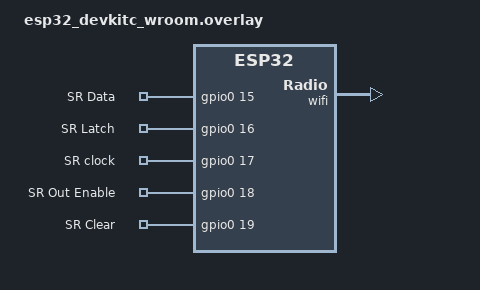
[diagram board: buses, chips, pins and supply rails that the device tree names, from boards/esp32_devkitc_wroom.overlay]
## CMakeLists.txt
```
cmake_minimum_required(VERSION 3.20.0)

find_package(Zephyr REQUIRED HINTS $ENV{ZEPHYR_BASE})
find_package(etl REQUIRED)
FILE(GLOB app_sources src/*.cpp)
# target_compile_options(app PRIVATE -DLUA_32BITS -DLUA_C89_NUMBERS)
target_sources(app PRIVATE ${app_sources})
project(pedal_switcher)

target_link_libraries(app PRIVATE etl::etl)
target_sources(app PRIVATE src/main.cpp)
```

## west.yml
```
# The west manifest file for upstream Zephyr.
#
# The per-installation west configuration file, .west/config, sets the
# path to the project containing this file in the [manifest] section's
# "path" variable.
#
# You are free to create your own manifest files and put them in any
# repository you want, to create your own custom Zephyr installations.
# For example, you could create a manifest file in your own out of
# tree application directory, which would pull this zephyr repository
# in as an ordinary project.
#
# You can pass your manifest repositories to west init when creating a
# new Zephyr installation. See the west documentation for more
# information.

manifest:
  defaults:
    remote: upstream

  remotes:
    - name: upstream
      url-base: https://github.com/zephyrproject-rtos
    - name: etl
      url-base: https://github.com/ETLCPP
    - name: lua
      url-base: https://github.com/tenllado


  #
  # Please add items below based on alphabetical order
  projects:
    - name: zephyr
      remote: upstream
      repo-path: zephyr
      revision: main
      import: true
      path: zephyr
      import:
        path-prefix: deps
        name-allowlist:
          - cmsis      # required by the ARM port
          - hal_atmel # required by the custom_plank board (Nordic based)
          - hal_stm32  # required by the nucleo_f302r8 board (STM32 based)
          - hal_st  # required by the nucleo_f302r8 board (STM32 based)
          - hal_espressif  # required by the nucleo_f302r8 board (STM32 based)
          - hal_xtensa  # required by the nucleo_f302r8 board (STM32 based)
          - lvgl
          - mbedtls
          - mcuboot

    - name: etl_base
      remote: etl
      repo-path: etl
      revision: 20.36.1
      path: deps/modules/etl

    - name: lua_base
      remote: lua
      repo-path: lua
      revision: zephyr
      path: deps/modules/lua

  self:
    path: zephyr
    west-commands: scripts/west-commands.yml
```

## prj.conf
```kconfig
CONFIG_CPP=y
CONFIG_GLIBCXX_LIBCPP=y

# System config
CONFIG_INIT_STACKS=y
CONFIG_MAIN_STACK_SIZE=8192
CONFIG_LOG=y
# CONFIG_LOG_MAX_LEVEL=0
# CONFIG_LOG_MODE_IMMEDIATE=y

# Console
CONFIG_CONSOLE=y
CONFIG_UART_CONSOLE=y
CONFIG_UART_LINE_CTRL=y

CONFIG_GPIO=y
```

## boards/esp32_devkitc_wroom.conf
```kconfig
# CONFIG_HEAP_MEM_POOL_SIZE=2048
# CONFIG_NVS=y
# CONFIG_SETTINGS_NVS=y
# CONFIG_MPU_ALLOW_FLASH_WRITE=y

# # Wifi stuff
# CONFIG_WIFI=y
# CONFIG_INIT_STACKS=y
# CONFIG_NET_L2_WIFI_MGMT=y

# CONFIG_NETWORKING=y
# CONFIG_NET_L2_ETHERNET=y

# CONFIG_NET_IPV4=y
# CONFIG_NET_IPV6=y
# CONFIG_NET_UDP=y
# CONFIG_NET_TCP=y
# CONFIG_DNS_RESOLVER=y
# CONFIG_DNS_RESOLVER_AI_MAX_ENTRIES=10

# CONFIG_NET_SOCKETS=y
# CONFIG_HTTP_CLIENT=y

# # Use DHCP for IPv4
# CONFIG_NET_DHCPV4=y

# # Or assign a static IP address (useful for testing)
# # Following line must be enabled, otherwise WiFi connection fails with -1.
# CONFIG_NET_CONFIG_SETTINGS=y
# #CONFIG_NET_CONFIG_NEED_IPV4=y
# #CONFIG_NET_CONFIG_MY_IPV4_ADDR="192.168.0.12"
# #CONFIG_NET_CONFIG_MY_IPV4_GW="192.168.0.254"
# #CONFIG_NET_CONFIG_NEED_IPV6=y
# #CONFIG_NET_CONFIG_MY_IPV6_ADDR="fe80::100"

# # Enabling logging can be helpful for debugging
# #CONFIG_NET_LOG=y
# #CONFIG_WIFI_LOG_LEVEL_ERR=y
# #CONFIG_NET_IPV6_LOG_LEVEL_DBG=y

# CONFIG_NET_TX_STACK_SIZE=2048
# CONFIG_NET_RX_STACK_SIZE=2048

# CONFIG_NET_PKT_RX_COUNT=10
# CONFIG_NET_PKT_TX_COUNT=10

# CONFIG_NET_BUF_RX_COUNT=20
# CONFIG_NET_BUF_TX_COUNT=20

# CONFIG_NET_MAX_CONTEXTS=10
```

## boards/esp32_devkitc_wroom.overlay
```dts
/*
 * Copyright (c) 2020, Kim Bøndergaard, <kim@fam-boendergaard.dk>
 *
 * SPDX-License-Identifier: Apache-2.0
 */

 / {
	shift_register {
		compatible = "gpio-keys";
		sr_data: sr_data {
			gpios = <&gpio0 15 GPIO_ACTIVE_HIGH>;
			label = "SR Data";
		};
		sr_latch: sr_latch {
			gpios = <&gpio0 16 GPIO_ACTIVE_HIGH>;
			label = "SR Latch";
		};
		sr_clock: sr_clock {
			gpios = <&gpio0 17 GPIO_ACTIVE_HIGH>;
			label = "SR clock";
		};
		sr_out_enable: sr_out_enable {
			gpios = <&gpio0 18 GPIO_ACTIVE_HIGH>;
			label = "SR Out Enable";
		};
		sr_clear: sr_clear {
			gpios = <&gpio0 19 GPIO_ACTIVE_HIGH>;
			label = "SR Clear";
		};
	};
	// chosen {
	// 	zephyr,display = &st7735r_st7735r_ada_160x128;
	// };
	// buttons {
	// 	compatible = "gpio-keys";
	// 	a_button: a_button {
	// 		gpios = <&gpio0 16 GPIO_ACTIVE_LOW>;
	// 		label = "A Button";
	// 	};
	// 	b_button: b_button {
	// 		gpios = <&gpio0 17 GPIO_ACTIVE_LOW>;
	// 		label = "B Button";
	// 	};
	// 	up_button: up_button {
	// 		gpios = <&gpio0 5 GPIO_ACTIVE_LOW>;
	// 		label = "Up Button";
	// 	};
	// 	down_button: down_button {
	// 		gpios = <&gpio0 18 GPIO_ACTIVE_LOW>;
	// 		label = "Down Button";
	// 	};
	// 	// left_button: left_button {
	// 	// 	gpios = <&gpio0 18 GPIO_ACTIVE_LOW>;
	// 	// 	label = "Left Button";
	// 	// };
	// 	// right_button: right_button {
	// 	// 	gpios = <&gpio0 5 GPIO_ACTIVE_LOW>;
	// 	// 	label = "Right Button";
	// 	// };
	// 	// start_button: start_button {
	// 	// 	gpios = <&gpio0 5 GPIO_ACTIVE_LOW>;
	// 	// 	label = "Start Button";
	// 	// };
	// 	// select_button: select_button {
	// 	// 	gpios = <&gpio0 18 GPIO_ACTIVE_LOW>;
	// 	// 	label = "Select Button";
	// 	// };
	// };
};

// &spi2 {
// 	st7735r_st7735r_ada_160x128: st7735r@0 {
// 		compatible = "sitronix,st7735r";
// 		spi-max-frequency = <20000000>;
// 		reg = <0>;
// 		cmd-data-gpios = <&gpio0 27 GPIO_ACTIVE_LOW>;	/* D9 */
// 		reset-gpios = <&gpio0 26 GPIO_ACTIVE_LOW>;	/* D8 */
// 		width = <160>;
// 		height = <128>;
// 		x-offset = <0>;
// 		y-offset = <0>;
// 		madctl = <0x60>;
// 		colmod = <0x55>;
// 		vmctr1 = <0x0e>;
// 		pwctr1 = [a2 02 84];
// 		pwctr2 = [c5];
// 		pwctr3 = [0a 00];
// 		pwctr4 = [8a 2a];
// 		pwctr5 = [8a ee];
// 		frmctr1 = [01 2c 2d];
// 		frmctr2 = [01 2c 2d];
// 		frmctr3 = [01 2c 2d 01 2c 2d];
// 		gamctrp1 = [02 1c 07 12 37 32 29 2d 29 25 2b 39 00 01 03 10];
// 		gamctrn1 = [03 1d 07 06 2e 2c 29 2d 2e 2e 37 3f 00 00 02 10];
// 	};
// };

// &spi1 {
// 	status = "okay";
// 	cs-gpios = <&porta 27 GPIO_ACTIVE_LOW>;

// 	sdhc0: sdhc@0 {
// 			compatible = "zephyr,sdhc-spi-slot";
// 			reg = <0>;
// 			status = "okay";
// 			mmc {
// 				compatible = "zephyr,sdmmc-disk";
// 				status = "okay";
// 			};
// 			spi-max-frequency = <24000000>;
// 	};
// };


&wifi {
	status = "okay";
};

&uart1 {
	status="disabled";
};

&uart2 {
	status="disabled";
};

// &pinctrl {
// 	spim2_default: spim2_default {
// 		group1 {
// 			pinmux = <SPIM2_MISO_GPIO12>,
// 					<SPIM2_SCLK_GPIO14>,
// 					<SPIM2_CSEL_GPIO15>;
// 		};
// 		group2 {
// 			pinmux = <SPIM2_MOSI_GPIO13>;
// 			output-low;
// 		};
// 	};
// };
```

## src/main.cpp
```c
#include <zephyr/kernel.h>
#include <zephyr/logging/log.h>
#include <zephyr/drivers/gpio.h>
LOG_MODULE_REGISTER(main_mayne, LOG_LEVEL_DBG);

#include <cstdint>
#include "etl/string.h"

class ShiftRegister
{
public:
    enum class Width { B_8, B_16, B_24, B_32 };

    ShiftRegister(Width width)
    {

        init_gpio();
    }
    ~ShiftRegister()
    {}

    void set(const std::uint32_t& val)
    {
        LOG_WRN("S: 0x%08x", val);
        // gpio_pin_set_dt(&out_enable_pin, 0);
        gpio_pin_set_dt(&latch_pin, 0);

        k_msleep(100);

        for(std::uint8_t bit = get_width(); bit > 0; bit--)
        {
            gpio_pin_set_dt(&clock_pin, 0);

            if(val & (0x01 << (bit - 1)))
            {
                gpio_pin_set_dt(&data_pin, 1);
            }
            else
            {
                gpio_pin_set_dt(&data_pin, 0);
            }

            k_msleep(50);

            gpio_pin_set_dt(&clock_pin, 1);
            k_msleep(50);
        }

        gpio_pin_set_dt(&latch_pin, 1);
        // gpio_pin_set_dt(&out_enable_pin, 1);
    }

    const std::uint8_t get_width()
    {
        switch (width)
        {
        case Width::B_8:
            return 8;
            break;
        case Width::B_16:
            return 16;
            break;
        case Width::B_24:
            return 24;
            break;
        case Width::B_32:
            return 32;
            break;

        default:
            break;
        }

        return 8;
    }

private:
    Width width { Width::B_8 };

    void init_gpio()
    {
        if (!gpio_is_ready_dt(&latch_pin)) {
            // return 0;
        }

        int ret = gpio_pin_configure_dt(&latch_pin, GPIO_OUTPUT_ACTIVE);
        LOG_INF("RET: %d", ret);
        if (ret < 0) {
            // return 0;
        }
        if (!gpio_is_ready_dt(&data_pin)) {
            // return 0;
        }

        ret = gpio_pin_configure_dt(&data_pin, GPIO_OUTPUT_ACTIVE);
        LOG_INF("RET: %d", ret);
        if (ret < 0) {
            // return 0;
        }
        if (!gpio_is_ready_dt(&clock_pin)) {
            // return 0;
        }

        ret = gpio_pin_configure_dt(&clock_pin, GPIO_OUTPUT_ACTIVE);
        LOG_INF("RET: %d", ret);
        if (ret < 0) {
            // return 0;
        }
    }

    struct gpio_dt_spec latch_pin      = GPIO_DT_SPEC_GET(DT_NODELABEL(sr_latch),      gpios);
    struct gpio_dt_spec data_pin       = GPIO_DT_SPEC_GET(DT_NODELABEL(sr_data),       gpios);
    struct gpio_dt_spec clear_pin      = GPIO_DT_SPEC_GET(DT_NODELABEL(sr_clear),      gpios);
    struct gpio_dt_spec clock_pin      = GPIO_DT_SPEC_GET(DT_NODELABEL(sr_clock),      gpios);
    struct gpio_dt_spec out_enable_pin = GPIO_DT_SPEC_GET(DT_NODELABEL(sr_out_enable), gpios);
};


constexpr std::uint8_t patch_name_len { 20 };


template<std::uint8_t n_channels>
struct patch{
    etl::string<patch_name_len> name;
    etl::string<patch_name_len> channel_name[n_channels];
    std::uint8_t                mapping[n_channels];
    bool                        muted[n_channels];
    // std::uint8_t                trim[n_channels]; TODO: Add digital pots

    // constexpr std::uint8_t json_len()
    // {
    //     return (patch_name_len*(n_channels+1))+n_channels;
    // }

    // etl::string<(patch_name_len*(n_channels+1))+n_channels> to_json()
    // {

    // }
};


template<std::uint8_t n_channels> // TODO: Add check for normal range
class PedalSwitcher
{
public:
    PedalSwitcher(){}
    ~PedalSwitcher(){}

    bool load_patch(){return true;}
    bool save_patch(){return true;}

    bool set_channel(std::uint8_t channel, std::uint8_t send_to)
    {
        if((send_to > n_channels-1) || (channel > n_channels-1))
        {
            return false;
        }

        current_patch.mapping[channel] = send_to;

        std::uint32_t val { 0 };
        auto WIDTH        { 24 };
        auto mux_n_bits   { 3 };
        auto mask         { 0x07 };
        auto bit_offset   { 0 };

        // for(std::uint8_t c = 0; c < n_channels; ++c)
        // {
        //     val |= ((current_patch.mapping[c] & mask) << (bit_offset+=mux_n_bits));
        // }
        val = send_to;

        LOG_INF("Val: 0x%08x", val);

        shift_reg.set(val);


        return true;
    }
    // void mute_channel(); TODO: Wire up the INH pin on next revision

private:
    struct patch<n_channels> current_patch { };
    ShiftRegister     shift_reg     { ShiftRegister::Width::B_8 };

};


constexpr std::uint8_t n_channels { 8 };


int main(void)
{
    LOG_INF("Starting");
    PedalSwitcher<n_channels> switcher { };

	while (1)
	{
        for(std::uint8_t i = 0; i < n_channels; ++i)
        {
            for(std::uint8_t j = 0; j < n_channels; ++j)
            {
                switcher.set_channel(i, j);
                LOG_INF("From: %d, To: %d", i, j);
                k_msleep(1000);
            }
        }
	}
	return 0;
}
```

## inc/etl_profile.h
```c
#pragma once

#define ETL_NO_STL
// #define ETL_CPP11_SUPPORTED
// #define ETL_CPP14_SUPPORTED
// #define ETL_CPP17_SUPPORTED
```
